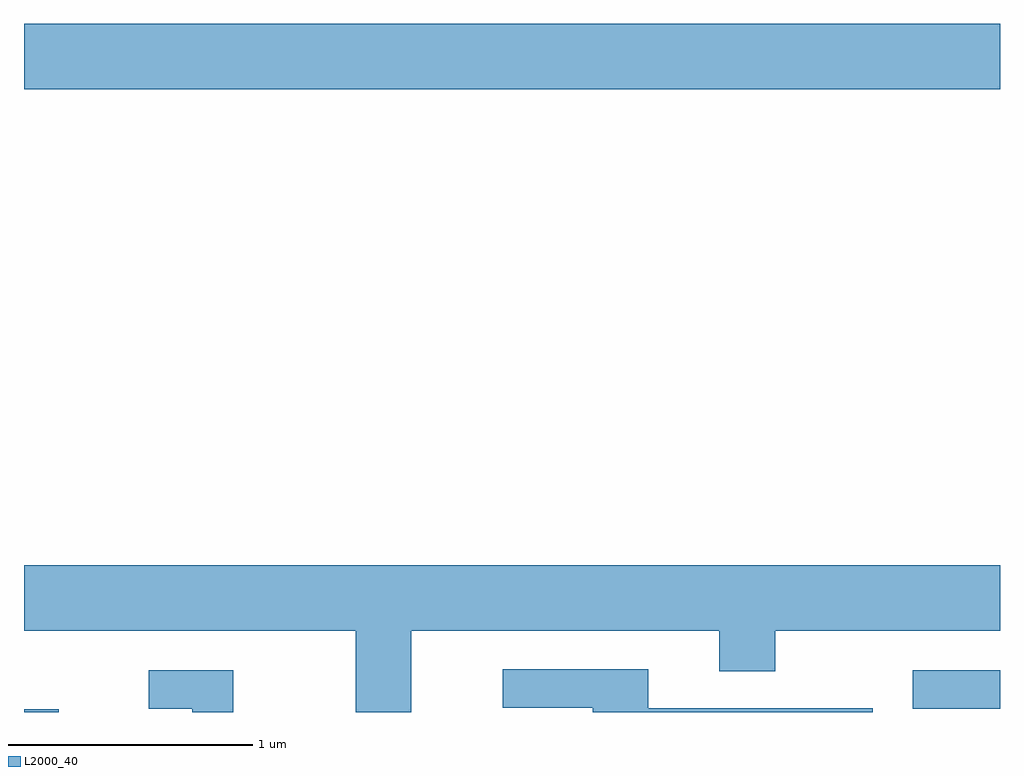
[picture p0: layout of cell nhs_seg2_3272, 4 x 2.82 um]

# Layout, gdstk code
import gdstk
lib = gdstk.Library(unit=1e-6, precision=1e-09)
def R(c, l, rs):  # rectangles x0, y0, x1, y1
    for r in rs: c.add(gdstk.rectangle(r[:2], r[2:], *l))
def P(c, l, *ps):  # polygons
    for p in ps: c.add(gdstk.Polygon(p, *l))
L2000_40 = (2000, 40)

nhs_seg2_3272 = lib.new_cell('nhs_seg2_3272')
R(nhs_seg2_3272, L2000_40, [(281.611,1005.802,281.754,1005.814), (285.253,1005.816,285.611,1005.974), (281.611,1008.356,285.611,1008.624)])
P(nhs_seg2_3272, L2000_40, [(283.199,1006.136),(284.461,1006.136),(284.461,1005.971),(284.689,1005.971),(284.689,1006.136),(285.611,1006.136),(285.611,1006.404),(281.611,1006.404),(281.611,1006.136),(282.971,1006.136),(282.971,1005.802),(283.199,1005.802)],
  [(285.089,1005.819),(284.169,1005.819),(284.169,1005.979),(283.573,1005.979),(283.573,1005.821),(283.941,1005.821),(283.941,1005.802),(285.089,1005.802)],
  [(282.469,1005.974),(282.123,1005.974),(282.123,1005.816),(282.301,1005.816),(282.301,1005.802),(282.469,1005.802)])

lib.write_gds('nhs_seg2_3272.gds')
